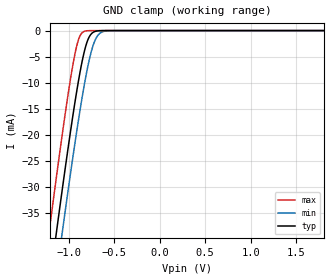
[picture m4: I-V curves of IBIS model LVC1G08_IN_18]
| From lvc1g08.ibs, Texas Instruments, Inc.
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[Model]   LVC1G08_IN_18
Model_type  Input
Vinl =   0.5775
Vinh =   1.2675
| variable   typ   min   max
C_comp   3.15pF   2.56pF   4.23pF
[Temperature Range]   40   100   -40
| Ambient temperature   25   85   -40
[Voltage range]   1.8   1.65   1.95
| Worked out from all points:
|   GND clamp passes 1 mA (typ) near -0.77 V on its own axis
[GND Clamp]
| LVC1G08_IN_18
|   Voltage   I(typ)   I(min)   I(max)
-5V       -583.8mA   -590.8mA   -575.1mA
-1.21V    -48.93mA   -57.22mA   -38.3mA
-1.135V   -39.07mA   -47.36mA   -28.42mA
-1.075V   -31.35mA   -39.6mA    -20.75mA
-1.06V    -29.44mA   -37.69mA   -18.89mA
-960mV    -17.26mA   -25.26mA   -7.377mA
-885mV    -9.098mA   -16.55mA   -1.486mA
-830mV    -4.281mA   -10.75mA   -171.6uA
-780mV    -1.472mA   -6.227mA   -17.15uA
-715mV    -205.4uA   -2.128mA   -808.5nA
-650mV    -22.01uA   -443.9uA   -37.93nA
1.8V      3.326pA    6.142pA    3.026pA
